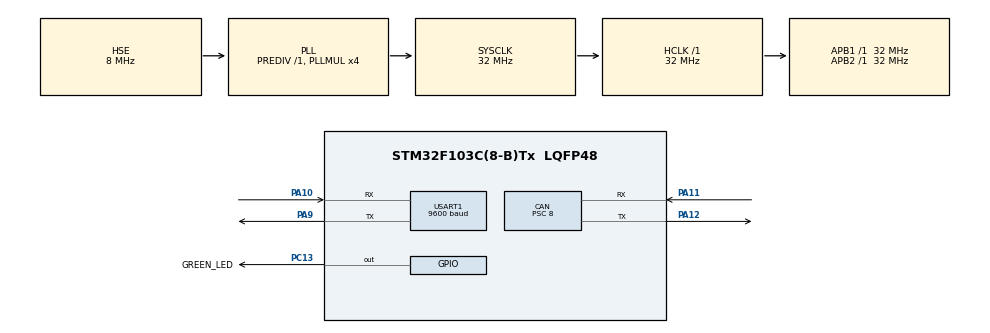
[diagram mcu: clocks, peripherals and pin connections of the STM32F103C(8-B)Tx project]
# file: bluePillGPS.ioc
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CAN.BS1=CAN_BS1_5TQ
CAN.BS2=CAN_BS2_2TQ
CAN.CalculateTimeBit=2000
CAN.CalculateTimeQuantum=250.0
CAN.Prescaler=8
Mcu.Family=STM32F1
Mcu.Name=STM32F103C(8-B)Tx
Mcu.Package=LQFP48
NVIC.PriorityGroup=NVIC_PRIORITYGROUP_4
NVIC.USART1_IRQn=true\:0\:0\:false\:false\:true\:true\:true
PA10.Mode=Asynchronous
PA10.Signal=USART1_RX
PA11.Mode=Master
PA11.Signal=CAN_RX
PA12.Mode=Master
PA12.Signal=CAN_TX
PA13.Mode=Serial_Wire
PA13.Signal=SYS_JTMS-SWDIO
PA14.Mode=Serial_Wire
PA14.Signal=SYS_JTCK-SWCLK
PA9.Mode=Asynchronous
PA9.Signal=USART1_TX
PC13-TAMPER-RTC.GPIO_Label=GREEN_LED
PC13-TAMPER-RTC.PinState=GPIO_PIN_SET
PC13-TAMPER-RTC.Signal=GPIO_Output
PD0-OSC_IN.Mode=HSE-External-Oscillator
PD0-OSC_IN.Signal=RCC_OSC_IN
PD1-OSC_OUT.Mode=HSE-External-Oscillator
PD1-OSC_OUT.Signal=RCC_OSC_OUT
ProjectManager.HeapSize=0x200
ProjectManager.StackSize=0x400
ProjectManager.TargetToolchain=STM32CubeIDE
RCC.AHBFreq_Value=32000000
RCC.APB1Freq_Value=32000000
RCC.APB1TimFreq_Value=32000000
RCC.APB2Freq_Value=32000000
RCC.APB2TimFreq_Value=32000000
RCC.HCLKFreq_Value=32000000
RCC.PLLMUL=RCC_PLL_MUL4
RCC.PLLSourceVirtual=RCC_PLLSOURCE_HSE
RCC.SYSCLKFreq_VALUE=32000000
RCC.SYSCLKSource=RCC_SYSCLKSOURCE_PLLCLK
RCC.USBFreq_Value=32000000
USART1.BaudRate=9600
USART1.Mode=MODE_TX_RX
USART1.VirtualMode=VM_ASYNC
board=custom

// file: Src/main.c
/* USER CODE BEGIN Header */
/**
  ******************************************************************************
  * @file           : main.c
  * @brief          : Main program body
  ******************************************************************************
  * @attention
  *
  * <h2><center>&copy; Copyright (c) 2019 STMicroelectronics.
  * All rights reserved.</center></h2>
  *
  * This software component is licensed by ST under BSD 3-Clause license,
  * the "License"; You may not use this file except in compliance with the
  * License. You may obtain a copy of the License at:
  *                        opensource.org/licenses/BSD-3-Clause
  *
  ******************************************************************************
  */
/* USER CODE END Header */

#include "main.h"

CAN_HandleTypeDef hcan;

UART_HandleTypeDef huart1;

void SystemClock_Config(void);
static void MX_GPIO_Init(void);
static void MX_CAN_Init(void);
static void MX_USART1_UART_Init(void);

int main(void)
{

  /* MCU Configuration--------------------------------------------------------*/

  /* Reset of all peripherals, Initializes the Flash interface and the Systick. */
  HAL_Init();

  /* Configure the system clock */
  SystemClock_Config();

  /* Initialize all configured peripherals */
  MX_GPIO_Init();
  MX_CAN_Init();
  MX_USART1_UART_Init();
  /* USER CODE BEGIN 2 */

  HAL_StatusTypeDef status;
  char readChar[2];

  char gpsMessage[100];

  char messageType[6];
  char messageFieldAux[20];

  char timeFix[7];

  int bufferPointer, placeInMessage, bufferAuxPointer;

  /* USER CODE END 2 */

  /* Infinite loop */
	while (1) {

    /* USER CODE BEGIN 3 */
		do {
			status = HAL_UART_Receive(&huart1, readChar, sizeof(char), 1000);
		} while (status != HAL_OK);

		if (readChar[0] == '$') {
			bufferPointer = 0;
			memset(gpsMessage, 0, strlen(gpsMessage));

			while ((readChar[0] != '\n') && (readChar[0] != '\r')) {
				do {
					status = HAL_UART_Receive(&huart1, readChar, sizeof(char), 1000);
				} while (status != HAL_OK);

				gpsMessage[bufferPointer] = readChar[0];
				bufferPointer++;
			}

			strncpy(messageType, gpsMessage, 5 * sizeof(char));
			messageType[5] = '\0';

			if (strcmp(messageType, "GPRMC") == 0) {
				bufferAuxPointer = 0;
				placeInMessage = 0;

				for (bufferPointer = 0; bufferPointer <= strlen(gpsMessage); bufferPointer++) {
					if (gpsMessage[bufferPointer] == ',') {
						switch (placeInMessage) {
							// time
							case 1:
								strncpy(timeFix, messageFieldAux, sizeof(timeFix));
								HAL_GPIO_TogglePin(GREEN_LED_GPIO_Port, GREEN_LED_Pin);
							break;
						}

						placeInMessage++;
						bufferAuxPointer = 0;
					}

					else {
						messageFieldAux[bufferAuxPointer] = gpsMessage[bufferPointer];
						bufferAuxPointer++;
					}
				}
			}
		}
	}
  /* USER CODE END 3 */
}

void SystemClock_Config(void)
{
  RCC_OscInitTypeDef RCC_OscInitStruct = {0};
  RCC_ClkInitTypeDef RCC_ClkInitStruct = {0};

  /** Initializes the CPU, AHB and APB busses clocks
  */
  RCC_OscInitStruct.OscillatorType = RCC_OSCILLATORTYPE_HSE;
  RCC_OscInitStruct.HSEState = RCC_HSE_ON;
  RCC_OscInitStruct.HSEPredivValue = RCC_HSE_PREDIV_DIV1;
  RCC_OscInitStruct.HSIState = RCC_HSI_ON;
  RCC_OscInitStruct.PLL.PLLState = RCC_PLL_ON;
  RCC_OscInitStruct.PLL.PLLSource = RCC_PLLSOURCE_HSE;
  RCC_OscInitStruct.PLL.PLLMUL = RCC_PLL_MUL4;
  if (HAL_RCC_OscConfig(&RCC_OscInitStruct) != HAL_OK)
  {
    Error_Handler();
  }
  /** Initializes the CPU, AHB and APB busses clocks
  */
  RCC_ClkInitStruct.ClockType = RCC_CLOCKTYPE_HCLK|RCC_CLOCKTYPE_SYSCLK
                              |RCC_CLOCKTYPE_PCLK1|RCC_CLOCKTYPE_PCLK2;
  RCC_ClkInitStruct.SYSCLKSource = RCC_SYSCLKSOURCE_PLLCLK;
  RCC_ClkInitStruct.AHBCLKDivider = RCC_SYSCLK_DIV1;
  RCC_ClkInitStruct.APB1CLKDivider = RCC_HCLK_DIV1;
  RCC_ClkInitStruct.APB2CLKDivider = RCC_HCLK_DIV1;

  if (HAL_RCC_ClockConfig(&RCC_ClkInitStruct, FLASH_LATENCY_1) != HAL_OK)
  {
    Error_Handler();
  }
}

static void MX_CAN_Init(void)
{

  hcan.Instance = CAN1;
  hcan.Init.Prescaler = 8;
  hcan.Init.Mode = CAN_MODE_NORMAL;
  hcan.Init.SyncJumpWidth = CAN_SJW_1TQ;
  hcan.Init.TimeSeg1 = CAN_BS1_5TQ;
  hcan.Init.TimeSeg2 = CAN_BS2_2TQ;
  hcan.Init.TimeTriggeredMode = DISABLE;
  hcan.Init.AutoBusOff = DISABLE;
  hcan.Init.AutoWakeUp = DISABLE;
  hcan.Init.AutoRetransmission = DISABLE;
  hcan.Init.ReceiveFifoLocked = DISABLE;
  hcan.Init.TransmitFifoPriority = DISABLE;
  if (HAL_CAN_Init(&hcan) != HAL_OK)
  {
    Error_Handler();
  }

}

static void MX_USART1_UART_Init(void)
{

  huart1.Instance = USART1;
  huart1.Init.BaudRate = 9600;
  huart1.Init.WordLength = UART_WORDLENGTH_8B;
  huart1.Init.StopBits = UART_STOPBITS_1;
  huart1.Init.Parity = UART_PARITY_NONE;
  huart1.Init.Mode = UART_MODE_TX_RX;
  huart1.Init.HwFlowCtl = UART_HWCONTROL_NONE;
  huart1.Init.OverSampling = UART_OVERSAMPLING_16;
  if (HAL_UART_Init(&huart1) != HAL_OK)
  {
    Error_Handler();
  }

}

static void MX_GPIO_Init(void)
{
  GPIO_InitTypeDef GPIO_InitStruct = {0};

  /* GPIO Ports Clock Enable */
  __HAL_RCC_GPIOC_CLK_ENABLE();
  __HAL_RCC_GPIOD_CLK_ENABLE();
  __HAL_RCC_GPIOA_CLK_ENABLE();

  /*Configure GPIO pin Output Level */
  HAL_GPIO_WritePin(GREEN_LED_GPIO_Port, GREEN_LED_Pin, GPIO_PIN_SET);

  /*Configure GPIO pin : GREEN_LED_Pin */
  GPIO_InitStruct.Pin = GREEN_LED_Pin;
  GPIO_InitStruct.Mode = GPIO_MODE_OUTPUT_PP;
  GPIO_InitStruct.Pull = GPIO_NOPULL;
  GPIO_InitStruct.Speed = GPIO_SPEED_FREQ_LOW;
  HAL_GPIO_Init(GREEN_LED_GPIO_Port, &GPIO_InitStruct);

}

void Error_Handler(void)
{
}

/************************ (C) COPYRIGHT STMicroelectronics *****END OF FILE****/
